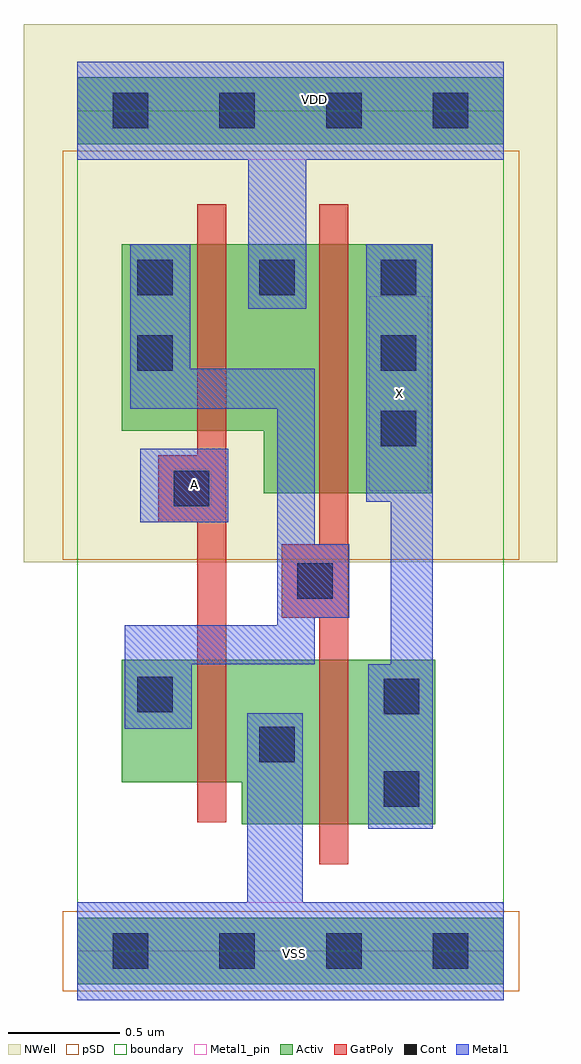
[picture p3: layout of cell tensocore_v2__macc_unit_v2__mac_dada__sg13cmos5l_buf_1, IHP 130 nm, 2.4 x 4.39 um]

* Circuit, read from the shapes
.subckt tensocore_v2__macc_unit_v2__mac_dada__sg13cmos5l_buf_1 A VDD VSS X
XM1 VSS A n1 VSS sg13_lv_nmos w=0.55u l=0.13u
XM2 X n1 VSS VSS sg13_lv_nmos w=0.74u l=0.13u
XM3 VDD A n1 VDD sg13_lv_pmos w=0.84u l=0.13u
XM4 X n1 VDD VDD sg13_lv_pmos w=1.12u l=0.13u
.ends

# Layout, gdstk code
import gdstk
lib = gdstk.Library(unit=1e-6, precision=1e-09)
def R(c, l, rs):  # rectangles x0, y0, x1, y1
    for r in rs: c.add(gdstk.rectangle(r[:2], r[2:], *l))
def A(c, l, x, y, w, h, nx, ny, dx, dy):  # array of equal rectangles
    R(c, l, [(x+i*dx, y+j*dy, x+i*dx+w, y+j*dy+h) for i in range(nx) for j in range(ny)])
def P(c, l, *ps):  # polygons
    for p in ps: c.add(gdstk.Polygon(p, *l))
Activ = (1, 0)
GatPoly = (5, 0)
Cont = (6, 0)
Metal1 = (8, 0)
Metal1_pin = (8, 2)
pSD = (14, 0)
NWell = (31, 0)
boundary = (189, 4)

tensocore_v2__macc_unit_ = lib.new_cell('tensocore_v2__macc_unit_v2__mac_dada__sg13cmos5l_buf_1')
R(tensocore_v2__macc_unit_, Activ, [(0,-0.15,1.92,0.15), (0,3.63,1.92,3.93)])
P(tensocore_v2__macc_unit_, Activ, [(0.84,2.06),(0.84,2.34),(0.2,2.34),(0.2,3.18),(1.595,3.18),(1.595,2.06)],
  [(0.74,0.57),(0.74,0.76),(0.2,0.76),(0.2,1.31),(1.61,1.31),(1.61,0.57)])
P(tensocore_v2__macc_unit_, GatPoly, [(0.54,0.58),(0.54,1.93),(0.365,1.93),(0.365,2.23),(0.54,2.23),(0.54,3.36),(0.67,3.36),(0.67,0.58)],
  [(1.09,0.39),(1.09,1.5),(0.92,1.5),(0.92,1.83),(1.09,1.83),(1.09,3.36),(1.22,3.36),(1.22,0.39)])
A(tensocore_v2__macc_unit_, Cont, 0.16, -0.08, 0.16, 0.16, 4, 2, 0.48, 3.78)
A(tensocore_v2__macc_unit_, Cont, 1.365, 2.27, 0.16, 0.16, 1, 3, 0, 0.34)
R(tensocore_v2__macc_unit_, Cont, [(1.38,0.65,1.54,0.81), (0.82,0.85,0.98,1.01), (1.38,1.065,1.54,1.225), (0.27,1.075,0.43,1.235), (0.99,1.585,1.15,1.745), (0.435,2,0.595,2.16), (0.27,2.61,0.43,2.77), (0.27,2.95,0.43,3.11), (0.82,2.95,0.98,3.11)])
R(tensocore_v2__macc_unit_, Metal1, [(0.285,1.93,0.68,2.26)])
P(tensocore_v2__macc_unit_, Metal1, [(0.77,2.89),(0.77,3.56),(0,3.56),(0,4),(1.92,4),(1.92,3.56),(1.03,3.56),(1.03,2.89)],
  [(0,-0.22),(0,0.22),(0.765,0.22),(0.765,1.07),(1.015,1.07),(1.015,0.22),(1.92,0.22),(1.92,-0.22)],
  [(1.31,0.55),(1.31,1.29),(1.41,1.29),(1.41,2.02),(1.3,2.02),(1.3,3.18),(1.6,3.18),(1.6,0.55)],
  [(0.215,1),(0.215,1.465),(0.9,1.465),(0.9,2.44),(0.24,2.44),(0.24,3.18),(0.51,3.18),(0.51,2.62),(1.07,2.62),(1.07,1.83),(1.225,1.83),(1.225,1.5),(1.07,1.5),(1.07,1.29),(0.515,1.29),(0.515,1)])
R(tensocore_v2__macc_unit_, Metal1_pin, [(0,-0.22,1.92,0.22), (0.285,1.93,0.68,2.26), (1.315,2.07,1.58,2.945), (1.315,2.07,1.58,2.945), (0,3.56,1.92,4)])
R(tensocore_v2__macc_unit_, pSD, [(-0.065,-0.18,1.99,0.18), (-0.065,1.76,1.99,3.6)])
R(tensocore_v2__macc_unit_, NWell, [(-0.24,1.75,2.16,4.17)])
R(tensocore_v2__macc_unit_, boundary, [(0,0,1.92,3.78)])
tensocore_v2__macc_unit_.add(gdstk.Label('VDD', (1.07,3.83), layer=8, texttype=25))
tensocore_v2__macc_unit_.add(gdstk.Label('VSS', (0.98,-0.01), layer=8, texttype=25))
tensocore_v2__macc_unit_.add(gdstk.Label('A', (0.53,2.1), layer=8, texttype=25))
tensocore_v2__macc_unit_.add(gdstk.Label('X', (1.45,2.51), layer=8, texttype=25))

lib.write_gds('tensocore_v2__macc_unit_v2__mac_dada__sg13cmos5l_buf_1.gds')
